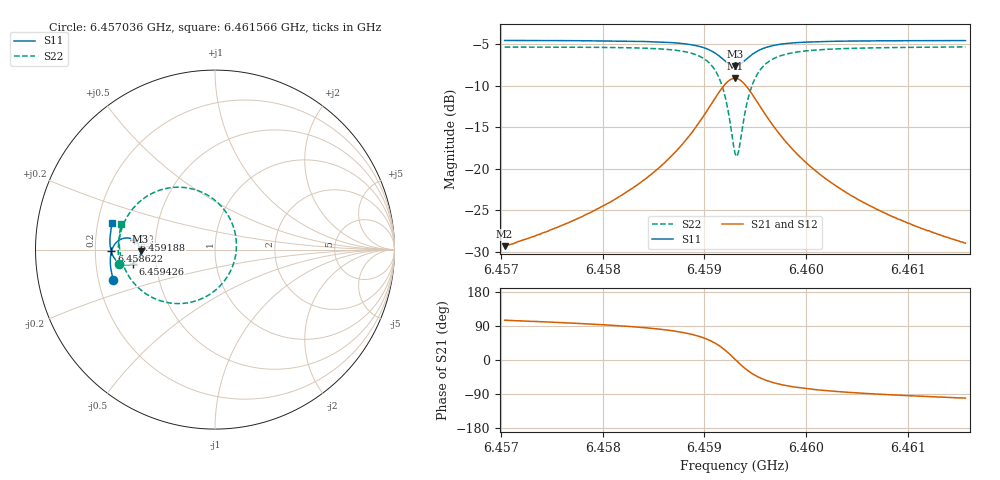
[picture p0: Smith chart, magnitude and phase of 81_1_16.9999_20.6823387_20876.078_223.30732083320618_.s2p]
#  HZ  S  RI  R  50.00
! Rohde & Schwarz Vector Network Analyzer
! Rohde-Schwarz,ZNB20-2Port,1311601062101988,3.16
! Created: UTC 3/20/2024, 10:55:43 PM
! freq[Hz]  re:S11  im:S11  re:S21  im:S21  re:S12  im:S12  re:S22  im:S22
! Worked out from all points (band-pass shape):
!   401 points, 6.457036 GHz to 6.461566 GHz, reference 50 ohm
!   highest |S21| = -9.11 dB at 6.459301 GHz (marker M1); lowest = -29.3 dB at 6.457036 GHz (marker M2)
!   |S21| within 3 dB of the highest: 6.459074 GHz to 6.459528 GHz (453.3 kHz wide, 0.00702 % of centre)
!   lowest |S11| = -7.6 dB at 6.459301 GHz (marker M3), VSWR 2.42, Z = 20.7 - j0.527 ohm
!   |S11| at or under -10 dB: nowhere
!   |S22| runs from -18.5 to -5.3 dB; largest |S21 - S12| = 0.014
!   S11 on the Smith chart (normalised r, x): 6.457036 GHz: 0.26, -0.14; 6.458622 GHz: 0.27, -0.01; 6.459188 GHz: 0.38, +0.05; 6.459426 GHz: 0.37, -0.07; 6.461566 GHz: 0.26, +0.12
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6.4570362e9  -0.5673 -0.1689  -0.00884 0.033  -0.007 0.033  -0.5344 -0.0787
6.4577951e9  -0.5808 -0.1024  -0.00529 0.0511  -0.00281 0.0506  -0.5388 0.0111
6.4581915e9  -0.5834 -0.0626  0.000224 0.0695  0.00342 0.0682  -0.5308 0.0741
6.4585539e9  -0.5794 -0.019  0.0149 0.1001  0.0188 0.0973  -0.5034 0.1561
6.4586218e9  -0.577 -0.00948  0.0204 0.1088  0.0245 0.1054  -0.4932 0.1763
6.4588144e9  -0.5642 0.021  0.0474 0.1399  0.0515 0.1348  -0.4424 0.2456
6.4589616e9  -0.5411 0.0474  0.0936 0.1708  0.0968 0.164  -0.3572 0.31
6.4590975e9  -0.4964 0.0648  0.1822 0.187  0.1832 0.1796  -0.1955 0.3475
6.4591881e9  -0.451 0.0539  0.2733 0.1548  0.2737 0.1489  -0.027 0.2947
6.4592561e9  -0.4217 0.021  0.3343 0.0812  0.3366 0.0759  0.0884 0.162
6.4593014e9  -0.4149 -0.0106  0.3502 0.0122  0.354 0.00517  0.1195 0.033
6.4593127e9  -0.4154 -0.0188  0.3499 -0.00578  0.354 -0.0135  0.1187 -0.00106
6.4593353e9  -0.419 -0.0347  0.344 -0.0409  0.348 -0.0501  0.1066 -0.0675
6.4593806e9  -0.435 -0.0612  0.3146 -0.1012  0.3168 -0.1135  0.0472 -0.1814
6.4594259e9  -0.4575 -0.0776  0.2717 -0.1425  0.2708 -0.1559  -0.0398 -0.256
6.4595166e9  -0.5014 -0.0847  0.1859 -0.1733  0.1795 -0.1851  -0.2108 -0.3008
6.4596638e9  -0.5458 -0.0642  0.0969 -0.1589  0.0883 -0.1652  -0.3795 -0.2498
6.4598223e9  -0.5677 -0.0364  0.0517 -0.1305  0.044 -0.1333  -0.4601 -0.1766
6.4600602e9  -0.5806 -0.00106  0.0224 -0.0985  0.0165 -0.0991  -0.5079 -0.0934
6.4603886e9  -0.5853 0.0385  0.00664 -0.0721  0.00248 -0.0716  -0.5289 -0.0161
6.460819e9  -0.5836 0.082  -0.00139 -0.0525  -0.00437 -0.0517  -0.5335 0.0541
6.4615665e9  -0.572 0.1487  -0.00655 -0.035  -0.00827 -0.0341  -0.5221 0.1433
